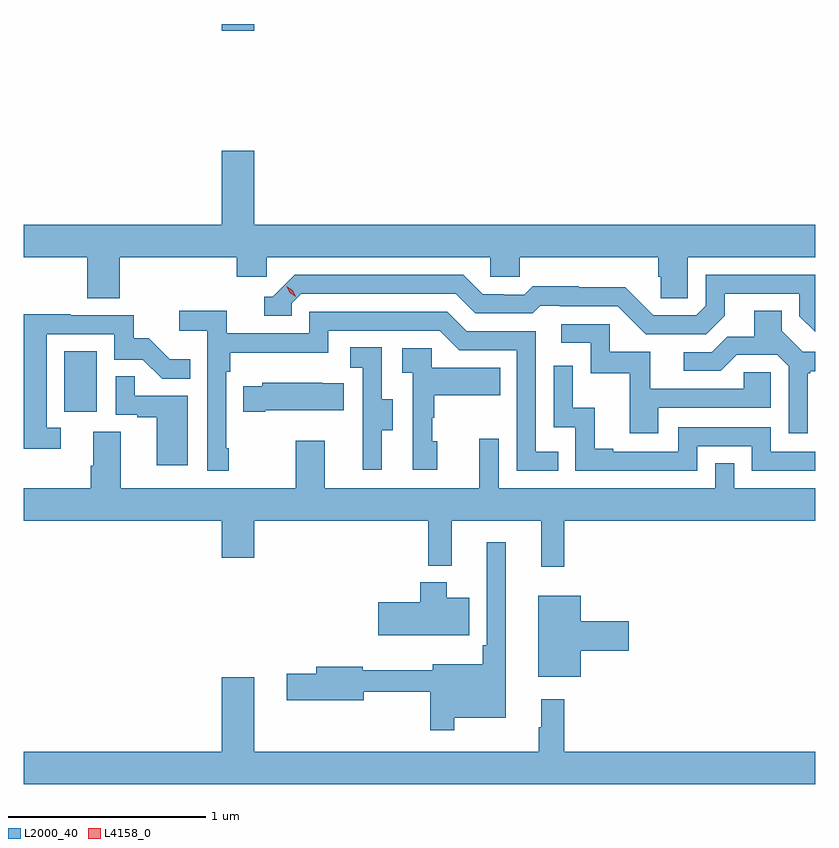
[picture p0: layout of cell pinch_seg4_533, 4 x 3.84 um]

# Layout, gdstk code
import gdstk
lib = gdstk.Library(unit=1e-6, precision=1e-09)
def R(c, l, rs):  # rectangles x0, y0, x1, y1
    for r in rs: c.add(gdstk.rectangle(r[:2], r[2:], *l))
def P(c, l, *ps):  # polygons
    for p in ps: c.add(gdstk.Polygon(p, *l))
L2000_40 = (2000, 40)
L4158_0 = (4158, 0)

pinch_seg4_533 = lib.new_cell('pinch_seg4_533')
R(pinch_seg4_533, L2000_40, [(1123.25,788.046,1123.414,788.353), (1124.048,789.972,1124.212,790.007)])
P(pinch_seg4_533, L2000_40, [(1123.532,788.828),(1124.123,788.828),(1124.123,788.73),(1124.274,788.73),(1124.274,788.828),(1125.405,788.828),(1125.405,788.73),(1125.555,788.73),(1125.555,788.828),(1126.253,788.828),(1126.253,788.73),(1126.267,788.73),(1126.267,788.62),(1126.404,788.62),(1126.404,788.828),(1127.047,788.828),(1127.047,788.992),(1124.212,788.992),(1124.212,789.367),(1124.048,789.367),(1124.048,788.992),(1123.047,788.992),(1123.047,788.828),(1123.367,788.828),(1123.367,788.62),(1123.532,788.62)],
  [(1126.591,788.533),(1126.591,788.643),(1126.968,788.643),(1126.968,788.529),(1127.047,788.45),(1127.047,788.739),(1126.494,788.739),(1126.494,788.583),(1126.446,788.535),(1126.23,788.535),(1126.088,788.677),(1125.852,788.677),(1125.852,788.68),(1125.619,788.68),(1125.577,788.637),(1125.474,788.637),(1125.474,788.64),(1125.367,788.64),(1125.268,788.739),(1124.415,788.739),(1124.304,788.628),(1124.261,788.628),(1124.261,788.532),(1124.4,788.532),(1124.4,788.595),(1124.448,788.643),(1125.231,788.643),(1125.33,788.544),(1125.619,788.544),(1125.658,788.583),(1125.757,788.583),(1125.757,788.58),(1126.05,788.58),(1126.191,788.439),(1126.497,788.439)],
  [(1124.083,787.861),(1124.07,787.861),(1124.07,788.249),(1124.09,788.249),(1124.09,788.345),(1124.586,788.345),(1124.586,788.457),(1125.15,788.457),(1125.249,788.358),(1125.54,788.358),(1125.54,787.749),(1125.749,787.749),(1125.749,787.845),(1125.636,787.845),(1125.636,788.454),(1125.286,788.454),(1125.187,788.553),(1124.49,788.553),(1124.49,788.442),(1124.072,788.442),(1124.072,788.558),(1123.833,788.558),(1123.833,788.456),(1123.974,788.456),(1123.974,787.749),(1124.083,787.749)],
  [(1127.011,788.241),(1127.023,788.241),(1127.023,788.252),(1127.047,788.252),(1127.047,788.349),(1126.986,788.349),(1126.879,788.456),(1126.879,788.558),(1126.739,788.558),(1126.739,788.426),(1126.604,788.426),(1126.524,788.346),(1126.383,788.346),(1126.383,788.253),(1126.57,788.253),(1126.651,788.334),(1126.857,788.334),(1126.914,788.277),(1126.914,787.938),(1127.011,787.938)],
  [(1123.234,787.965),(1123.161,787.965),(1123.161,788.439),(1123.503,788.439),(1123.503,788.31),(1123.647,788.31),(1123.745,788.212),(1123.889,788.212),(1123.889,788.311),(1123.785,788.311),(1123.678,788.418),(1123.602,788.418),(1123.602,788.535),(1123.283,788.535),(1123.283,788.54),(1123.047,788.54),(1123.047,787.86),(1123.234,787.86)],
  [(1126.255,788.067),(1126.824,788.067),(1126.824,788.247),(1126.687,788.247),(1126.687,788.163),(1126.213,788.163),(1126.213,788.349),(1126.008,788.349),(1126.008,788.49),(1125.765,788.49),(1125.765,788.394),(1125.912,788.394),(1125.912,788.241),(1126.111,788.241),(1126.111,787.938),(1126.255,787.938)],
  [(1124.857,787.954),(1124.911,787.954),(1124.911,788.109),(1124.856,788.109),(1124.856,788.372),(1124.697,788.372),(1124.697,788.269),(1124.76,788.269),(1124.76,787.965),(1124.759,787.965),(1124.759,787.752),(1124.857,787.752)],
  [(1125.136,787.896),(1125.111,787.896),(1125.111,788.015),(1125.121,788.015),(1125.121,788.129),(1125.455,788.129),(1125.455,788.269),(1125.108,788.269),(1125.108,788.367),(1124.961,788.367),(1124.961,788.243),(1125.012,788.243),(1125.012,787.752),(1125.136,787.752)],
  [(1126.452,787.872),(1126.728,787.872),(1126.728,787.749),(1127.047,787.749),(1127.047,787.845),(1126.824,787.845),(1126.824,787.968),(1126.356,787.968),(1126.356,787.845),(1126.027,787.845),(1126.027,787.858),(1125.932,787.858),(1125.932,788.066),(1125.822,788.066),(1125.822,788.278),(1125.726,788.278),(1125.726,787.968),(1125.834,787.968),(1125.834,787.749),(1126.452,787.749)],
  [(1123.876,788.127),(1123.607,788.127),(1123.607,788.225),(1123.512,788.225),(1123.512,788.031),(1123.619,788.031),(1123.619,788.019),(1123.718,788.019),(1123.718,787.776),(1123.876,787.776)],
  [(1124.266,788.054),(1124.663,788.054),(1124.663,788.191),(1124.555,788.191),(1124.555,788.194),(1124.253,788.194),(1124.253,788.176),(1124.155,788.176),(1124.155,788.047),(1124.266,788.047)],
  [(1125.779,787.496),(1127.047,787.496),(1127.047,787.66),(1126.638,787.66),(1126.638,787.787),(1126.542,787.787),(1126.542,787.66),(1125.447,787.66),(1125.447,787.909),(1125.35,787.909),(1125.35,787.66),(1124.569,787.66),(1124.569,787.9),(1124.422,787.9),(1124.422,787.66),(1123.537,787.66),(1123.537,787.946),(1123.397,787.946),(1123.397,787.772),(1123.385,787.772),(1123.385,787.66),(1123.047,787.66),(1123.047,787.496),(1124.048,787.496),(1124.048,787.308),(1124.212,787.308),(1124.212,787.496),(1125.091,787.496),(1125.091,787.268),(1125.209,787.268),(1125.209,787.496),(1125.662,787.496),(1125.662,787.263),(1125.779,787.263)],
  [(1125.223,786.5),(1125.484,786.5),(1125.484,787.387),(1125.387,787.387),(1125.387,786.865),(1125.367,786.865),(1125.367,786.769),(1125.113,786.769),(1125.113,786.739),(1124.76,786.739),(1124.76,786.758),(1124.525,786.758),(1124.525,786.722),(1124.376,786.722),(1124.376,786.587),(1124.764,786.587),(1124.764,786.63),(1125.102,786.63),(1125.102,786.435),(1125.223,786.435)],
  [(1125.298,787.105),(1125.184,787.105),(1125.184,787.183),(1125.05,787.183),(1125.05,787.083),(1124.838,787.083),(1124.838,786.917),(1125.298,786.917)],
  [(1125.862,786.839),(1126.105,786.839),(1126.105,786.986),(1125.862,786.986),(1125.862,787.117),(1125.647,787.117),(1125.647,786.707),(1125.862,786.707)],
  [(1127.047,786.328),(1125.779,786.328),(1125.779,786.592),(1125.662,786.592),(1125.662,786.452),(1125.651,786.452),(1125.651,786.328),(1124.212,786.328),(1124.212,786.703),(1124.048,786.703),(1124.048,786.328),(1123.047,786.328),(1123.047,786.164),(1127.047,786.164)])
P(pinch_seg4_533, L4158_0, [(1124.422,788.628),(1124.391,788.647),(1124.376,788.679),(1124.376,788.68),(1124.376,788.68),(1124.406,788.66),(1124.422,788.628),(1124.422,788.628)])

lib.write_gds('pinch_seg4_533.gds')
